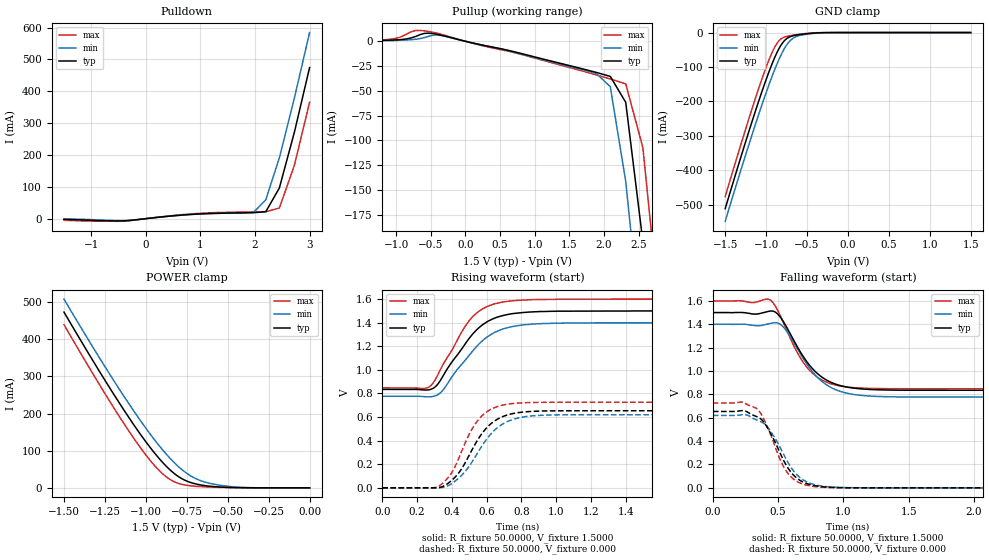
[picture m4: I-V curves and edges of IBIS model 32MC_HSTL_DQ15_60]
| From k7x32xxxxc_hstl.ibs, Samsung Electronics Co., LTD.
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|   Model 32MC_HSTL_DQ15_60
[Model]   32MC_HSTL_DQ15_60
Model_type   I/O
Polarity   Non-Inverting
Enable   Active-High
Vinl = 0.5500V
Vinh = 0.9500V
Vmeas = 0.7500V
Cref =  0.000F
Rref =50.0000
Vref = 0.7500V
C_comp   0.8590pF   0.8410pF   0.8720pF
[Model Spec]
|   Typ   Min   Max
Vinl 0.55   0.5   0.6 |VREF - 0.2V AC spec for timing simulation
Vinh 0.95   0.9   1.0 |VREF + 0.2V AC spec for timing simulation
|[Model Spec]
|   Typ   Min   Max
|Vinl 0.65   0.6   0.7 |VREF - 0.1V DC spec for noise measurement
|Vinh 0.85   0.8   0.9 |VREF + 0.1V DC spec for noise measurement
Vmeas  0.7500V   0.7000V   0.8000V |VDDQ/2
[Temperature Range]   55.0000   0.1100k   0.000
[Voltage Range]   1.5000V   1.4000V   1.6000V
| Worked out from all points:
|   slope of the pulldown table from 0 to 0.225 V, typ, clamps not added: 52.6 ohm
|   slope of the pullup table from 0 to 0.225 V, typ, clamps not added: 62.9 ohm
|   GND clamp passes 1 mA (typ) near -0.38 V on its own axis
|   POWER clamp passes 1 mA (typ) near -0.47 V on its own axis
|   rising waveform, R_fixture 50.0000, V_fixture 1.5000: 20-80 % time 207ps typ, 217ps min, 186ps max; typ from 0.835 V to 1.5 V
|   rising waveform, R_fixture 50.0000, V_fixture 0.000: 20-80 % time 168ps typ, 183ps min, 149ps max; typ from 0 V to 0.654 V
|   falling waveform, R_fixture 50.0000, V_fixture 1.5000: 20-80 % time 243ps typ, 243ps min, 222ps max; typ from 1.5 V to 0.835 V
|   falling waveform, R_fixture 50.0000, V_fixture 0.000: 20-80 % time 187ps typ, 198ps min, 169ps max; typ from 0.654 V to 0 V
[Pulldown]
| voltage   I(typ)   I(min/slow/weak)   I(max/fast/strong)
-1.5V     -2.1mA     -1mA       -5.2mA
-378mV    -6.578mA   -6.071mA   -7.533mA
839mV     13.35mA    13.17mA    14.93mA
1.975V    18.58mA    19.9mA     21.24mA
2.198V    21.91mA    59.31mA    21.78mA
2.446V    96.15mA    190.9mA    33.26mA
2.722V    271.5mA    378.9mA    167.6mA
3V        474.2mA    584.2mA    365.3mA
[Pullup]
| voltage   I(typ)   I(min/slow/weak)   I(max/fast/strong)
-1.5V     600uA      500uA      700uA
-1.037V   1.3mA      800uA      2.5mA
-862mV    2.26mA     1.26mA     6.8mA
-716mV    4.95mA     2.06mA     10.93mA
-542mV    8.219mA    4.762mA    10.03mA
-310mV    5.501mA    5.285mA    6.236mA
1.889V    -31.43mA   -32.44mA   -33.94mA
2.091V    -35.44mA   -45.81mA   -38.01mA
2.314V    -61.65mA   -141.5mA   -43.01mA
2.561V    -202mA     -309.9mA   -107.2mA
2.834V    -403.2mA   -517.1mA   -295.9mA
3V        -532.9mA   -647.6mA   -423.6mA
[GND_clamp]
| voltage   I(typ)   I(min/slow/weak)   I(max/fast/strong)
-1.5V     -511.2mA   -547.9mA   -476.1mA
-1.313V   -365mA     -402.8mA   -328.5mA
-1.149V   -241.3mA   -279.9mA   -204.1mA
-1.039V   -162.9mA   -201.3mA   -126.3mA
-956mV    -108.2mA   -145.4mA   -73.89mA
-894mV    -71.84mA   -106.8mA   -42.02mA
-836mV    -43.63mA   -74.25mA   -22.22mA
-768mV    -21.47mA   -43mA      -12.35mA
-682mV    -10.07mA   -18.52mA   -8.022mA
-565mV    -5.078mA   -7.073mA   -4.184mA
-304mV    -305.9uA   -610.7uA   -117.4uA
1.5V      150.9nA    3.229uA    9.728nA
[POWER_clamp]
| voltage   I(typ)   I(min/slow/weak)   I(max/fast/strong)
-1.5V     473.4mA    508.4mA    439.6mA
-1.268V   302.8mA    339.4mA    267mA
-1.088V   179.2mA    216.4mA    142.8mA
-962mV    102.2mA    138.1mA    67.83mA
-905mV    72.14mA    106.3mA    40.93mA
-864mV    53.29mA    85.31mA    26.08mA
-800mV    30.16mA    56.83mA    11.93mA
-740mV    16.52mA    36.13mA    6.215mA
-674mV    8.574mA    20.91mA    3.576mA
-604mV    4.168mA    11.67mA    2.173mA
-413mV    492.5uA    1.316mA    210.6uA
0V        150.9nA    944.4nA    11.77nA
[Ramp]
| variable   typ   min(slow/weak)   max(fast/strong)
dV/dt_r   0.3922/0.1678n   0.3719/0.1831n   0.4355/0.1485n
dV/dt_f   0.3992/0.2428n   0.3742/0.2431n   0.4513/0.2216n
R_load = 50.0000
[Rising Waveform]
R_fixture = 50.0000
V_fixture = 1.5000
V_fixture_min = 1.4000
V_fixture_max = 1.6000
L_fixture = 0.000H
C_fixture = 0.000F
| time   V(typ)   V(min)   V(max)
0s        834.7mV    776.5mV    847.8mV
274ps     833.1mV    772.2mV    860.1mV
309ps     862.7mV    782.5mV    929mV
343ps     932.5mV    818.8mV    1.027V
464ps     1.193V     1.06V      1.34V
521ps     1.306V     1.162V     1.453V
605ps     1.41V      1.281V     1.538V
713ps     1.467V     1.355V     1.58V
1.072ns   1.498V     1.398V     1.599V
3.999ns   1.5V       1.4V       1.6V
[Rising Waveform]
R_fixture = 50.0000
V_fixture = 0.000
V_fixture_min = 0.000
V_fixture_max = 0.000
L_fixture = 0.000H
C_fixture = 0.000F
| time   V(typ)   V(min)   V(max)
0s        3.233uV    22.49uV    0V
329ps     3.598mV    836uV      18.42mV
389ps     50.95mV    26.22mV    106mV
434ps     116.1mV    76.03mV    230.7mV
506ps     294.2mV    196.8mV    471.2mV
559ps     430.5mV    322.4mV    588.5mV
648ps     569.3mV    491.9mV    681.6mV
741ps     626.5mV    575mV      713.4mV
1.006ns   653.1mV    618.7mV    725.7mV
3.999ns   653.7mV    619.9mV    725.9mV
[Falling Waveform]
R_fixture = 50.0000
V_fixture = 1.5000
V_fixture_min = 1.4000
V_fixture_max = 1.6000
L_fixture = 0.000H
C_fixture = 0.000F
| time   V(typ)   V(min)   V(max)
0s        1.5V       1.4V       1.6V
440ps     1.513V     1.407V     1.607V
488ps     1.496V     1.412V     1.536V
541ps     1.421V     1.375V     1.411V
637ps     1.227V     1.211V     1.178V
719ps     1.08V      1.061V     1.034V
829ps     952.7mV    917.1mV    926.7mV
974ps     875.8mV    826.1mV    871.8mV
1.417ns   836.1mV    778.3mV    848.4mV
3.999ns   834.7mV    776.4mV    847.8mV
[Falling Waveform]
R_fixture = 50.0000
V_fixture = 0.000
V_fixture_min = 0.000
V_fixture_max = 0.000
L_fixture = 0.000H
C_fixture = 0.000F
| time   V(typ)   V(min)   V(max)
0s        653.7mV    619.9mV    725.9mV
220ps     661mV      625.7mV    733.7mV
337ps     609.2mV    579.6mV    677.1mV
425ps     500.3mV    512mV      502.2mV
517ps     292.8mV    342mV      237.2mV
565ps     187.8mV    237.1mV    139.2mV
650ps     77.18mV    104.9mV    51.34mV
747ps     26.82mV    38.29mV    16.15mV
1.062ns   806.4uV    1.399mV    318uV
3.999ns   515.7nV    19.49uV    -2.09uV
